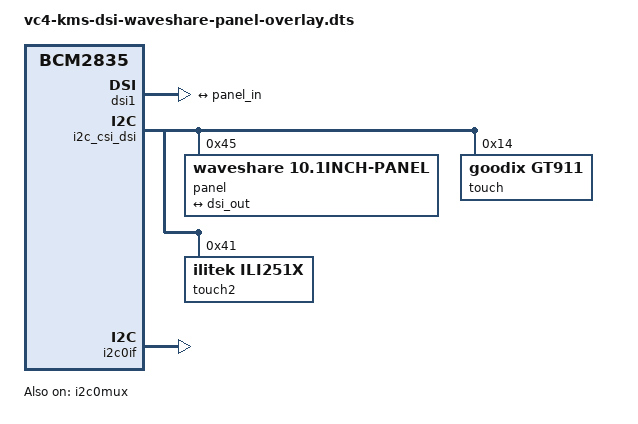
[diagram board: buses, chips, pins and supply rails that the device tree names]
/*
 * Device Tree overlay for Waveshare DSI Touchscreens
 *
 */

/dts-v1/;
/plugin/;

/ {
	compatible = "brcm,bcm2835";

	dsi_frag: fragment@0 {
		target = <&dsi1>;
		__overlay__ {
			#address-cells = <1>;
			#size-cells = <0>;
			status = "okay";
			port {
				dsi_out: endpoint {
					remote-endpoint = <&panel_in>;
				};
			};
		};
	};

	fragment@1 {
		target-path = "/";
		__overlay__ {
		};
	};

	i2c_frag: fragment@2 {
		target = <&i2c_csi_dsi>;
		__overlay__ {
			#address-cells = <1>;
			#size-cells = <0>;
			status = "okay";

			panel: panel_disp1@45 {
				reg = <0x45>;
				compatible = "waveshare,10.1inch-panel";

				port {
					panel_in: endpoint {
						remote-endpoint = <&dsi_out>;
					};
				};
			};

			touch: goodix@14 {
				reg = <0x14>;
				compatible = "goodix,gt911";
			};

			touch2: ilitek@41 {
				compatible = "ilitek,ili251x";
				reg = <0x41>;
			};
		};
	};

	fragment@3 {
		target = <&i2c0if>;
		__overlay__ {
			status = "okay";
		};
	};

	fragment@4 {
		target = <&i2c0mux>;
		__overlay__ {
			status = "okay";
		};
	};

	fragment@5 {
		target = <&i2c_arm>;
		__dormant__ {
			status = "okay";
		};
	};

	__overrides__ {
		2_8_inch = <&panel>, "compatible=waveshare,2.8inch-panel",
				   <&touch>, "touchscreen-size-x:0=480",
				   <&touch>, "touchscreen-size-y:0=640",
				   <&touch>, "touchscreen-inverted-y?",
				   <&touch>, "touchscreen-swapped-x-y?";
		3_4_inch = <&panel>, "compatible=waveshare,3.4inch-panel",
				   <&touch>, "touchscreen-size-x:0=800",
				   <&touch>, "touchscreen-size-y:0=800";
		4_0_inch = <&panel>, "compatible=waveshare,4.0inch-panel",
				   <&touch>, "touchscreen-size-x:0=800",
				   <&touch>, "touchscreen-size-y:0=480",
				   <&touch>, "touchscreen-inverted-x?",
				   <&touch>, "touchscreen-swapped-x-y?";
		7_0_inchC = <&panel>, "compatible=waveshare,7.0inch-c-panel",
				   <&touch>, "touchscreen-size-x:0=800",
				   <&touch>, "touchscreen-size-y:0=480";
		7_9_inch = <&panel>, "compatible=waveshare,7.9inch-panel",
				   <&touch>, "touchscreen-size-x:0=4096",
				   <&touch>, "touchscreen-size-y:0=4096",
				   <&touch>, "touchscreen-inverted-x?",
				   <&touch>, "touchscreen-swapped-x-y?";
		8_0_inch = <&panel>, "compatible=waveshare,8.0inch-panel",
				   <&touch>, "touchscreen-size-x:0=800",
				   <&touch>, "touchscreen-size-y:0=1280",
				   <&touch>, "touchscreen-inverted-x?",
				   <&touch>, "touchscreen-swapped-x-y?";
		10_1_inch = <&panel>, "compatible=waveshare,10.1inch-panel",
				   <&touch>, "touchscreen-size-x:0=800",
				   <&touch>, "touchscreen-size-y:0=1280",
				   <&touch>, "touchscreen-inverted-x?",
				   <&touch>, "touchscreen-swapped-x-y?";
		11_9_inch = <&panel>, "compatible=waveshare,11.9inch-panel",
				   <&touch>, "touchscreen-inverted-x?",
				   <&touch>, "touchscreen-swapped-x-y?";
		4_0_inchC = <&panel>, "compatible=waveshare,4inch-panel",
				   <&touch>, "touchscreen-size-x:0=720",
				   <&touch>, "touchscreen-size-y:0=720";
		5_0_inch = <&panel>, "compatible=waveshare,5.0inch-panel",
				   <&touch>, "touchscreen-inverted-x?",
				   <&touch>, "touchscreen-inverted-y?";
		6_25_inch = <&panel>, "compatible=waveshare,6.25inch-panel",
				   <&touch>, "touchscreen-inverted-x?",
				   <&touch>, "touchscreen-inverted-y?";
		8_8_inch = <&panel>, "compatible=waveshare,8.8inch-panel";
		13_3_inch_4lane = <&panel>, "compatible=waveshare,13.3inch-4lane-panel";
		13_3_inch_2lane = <&panel>, "compatible=waveshare,13.3inch-2lane-panel";
		i2c1 = <&i2c_frag>, "target:0=",<&i2c1>,
		       <0>, "-3-4+5";
		disable_touch = <&touch>, "status=disabled";
		rotation = <&panel>, "rotation:0";
		invx = <&touch>,"touchscreen-inverted-x?";
		invy = <&touch>,"touchscreen-inverted-y?";
		swapxy = <&touch>,"touchscreen-swapped-x-y?";
		dsi0 = <&dsi_frag>, "target:0=",<&dsi0>,
		       <&i2c_frag>, "target:0=",<&i2c_csi_dsi0>;
	};
};
